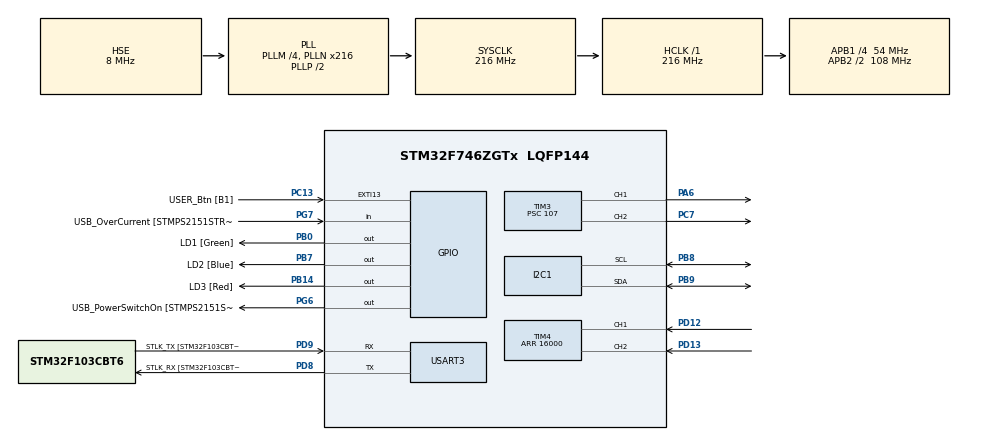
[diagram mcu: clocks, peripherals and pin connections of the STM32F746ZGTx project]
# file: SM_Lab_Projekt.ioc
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ARM.CMSIS.5.7.0.CMSISJjCORE=true
ARM.CMSIS.5.7.0.CMSISJjDSP=Library
I2C1.Timing=0x20404768
Mcu.Family=STM32F7
Mcu.Name=STM32F746ZGTx
Mcu.Package=LQFP144
NVIC.PriorityGroup=NVIC_PRIORITYGROUP_4
NVIC.TIM6_DAC_IRQn=true\:0\:0\:false\:false\:true\:true\:true
NVIC.TIM7_IRQn=true\:0\:0\:false\:false\:true\:true\:true
NVIC.USART3_IRQn=true\:0\:0\:false\:false\:true\:true\:true
PA1.GPIO_Label=RMII_REF_CLK [LAN8742A-CZ-TR_REFCLK0]
PA1.Signal=ETH_REF_CLK
PA10.GPIO_Label=USB_ID
PA10.Signal=USB_OTG_FS_ID
PA11.GPIO_Label=USB_DM
PA11.Signal=USB_OTG_FS_DM
PA12.GPIO_Label=USB_DP
PA12.Signal=USB_OTG_FS_DP
PA13.GPIO_Label=TMS
PA13.Mode=Serial_Wire
PA13.Signal=SYS_JTMS-SWDIO
PA14.GPIO_Label=TCK
PA14.Mode=Serial_Wire
PA14.Signal=SYS_JTCK-SWCLK
PA2.GPIO_Label=RMII_MDIO [LAN8742A-CZ-TR_MDIO]
PA2.Signal=ETH_MDIO
PA6.Signal=S_TIM3_CH1
PA7.GPIO_Label=RMII_CRS_DV [LAN8742A-CZ-TR_CRS_DV]
PA7.Signal=ETH_CRS_DV
PA8.GPIO_Label=USB_SOF [TP1]
PA8.Signal=USB_OTG_FS_SOF
PA9.GPIO_Label=USB_VBUS
PA9.Signal=USB_OTG_FS_VBUS
PB0.GPIO_Label=LD1 [Green]
PB0.Signal=GPIO_Output
PB13.GPIO_Label=RMII_TXD1 [LAN8742A-CZ-TR_TXD1]
PB13.Signal=ETH_TXD1
PB14.GPIO_Label=LD3 [Red]
PB14.Signal=GPIO_Output
PB3.GPIO_Label=SW0
PB3.Signal=SYS_JTDO-SWO
PB7.GPIO_Label=LD2 [Blue]
PB7.Signal=GPIO_Output
PB8.Mode=I2C
PB8.Signal=I2C1_SCL
PB9.Mode=I2C
PB9.Signal=I2C1_SDA
PC1.GPIO_Label=RMII_MDC [LAN8742A-CZ-TR_MDC]
PC1.Signal=ETH_MDC
PC13.GPIO_Label=USER_Btn [B1]
PC13.Signal=GPXTI13
PC14/OSC32_IN.Mode=LSE-External-Oscillator
PC14/OSC32_IN.Signal=RCC_OSC32_IN
PC15/OSC32_OUT.Mode=LSE-External-Oscillator
PC15/OSC32_OUT.Signal=RCC_OSC32_OUT
PC4.GPIO_Label=RMII_RXD0 [LAN8742A-CZ-TR_RXD0]
PC4.Signal=ETH_RXD0
PC5.GPIO_Label=RMII_RXD1 [LAN8742A-CZ-TR_RXD1]
PC5.Signal=ETH_RXD1
PC7.Signal=S_TIM3_CH2
PD12.Signal=S_TIM4_CH1
PD13.Signal=S_TIM4_CH2
PD8.GPIO_Label=STLK_RX [STM32F103CBT6_PA3]
PD8.Mode=Asynchronous
PD8.Signal=USART3_TX
PD9.GPIO_Label=STLK_TX [STM32F103CBT6_PA2]
PD9.Mode=Asynchronous
PD9.Signal=USART3_RX
PG11.GPIO_Label=RMII_TX_EN [LAN8742A-CZ-TR_TXEN]
PG11.Signal=ETH_TX_EN
PG13.GPIO_Label=RMII_TXD0 [LAN8742A-CZ-TR_TXD0]
PG13.Signal=ETH_TXD0
PG6.GPIO_Label=USB_PowerSwitchOn [STMPS2151STR_EN]
PG6.Signal=GPIO_Output
PG7.GPIO_Label=USB_OverCurrent [STMPS2151STR_FAULT]
PG7.Signal=GPIO_Input
PH0/OSC_IN.GPIO_Label=MCO [STM32F103CBT6_PA8]
PH0/OSC_IN.Mode=HSE-External-Clock-Source
PH0/OSC_IN.Signal=RCC_OSC_IN
PH1/OSC_OUT.Mode=HSE-External-Clock-Source
PH1/OSC_OUT.Signal=RCC_OSC_OUT
ProjectManager.HeapSize=0x200
ProjectManager.StackSize=0x400
ProjectManager.TargetToolchain=STM32CubeIDE
RCC.48MHZClocksFreq_Value=24000000
RCC.AHBFreq_Value=216000000
RCC.APB1CLKDivider=RCC_HCLK_DIV4
RCC.APB1Freq_Value=54000000
RCC.APB1TimFreq_Value=108000000
RCC.APB2CLKDivider=RCC_HCLK_DIV2
RCC.APB2Freq_Value=108000000
RCC.APB2TimFreq_Value=216000000
RCC.CortexFreq_Value=216000000
RCC.HCLKFreq_Value=216000000
RCC.HSE_VALUE=8000000
RCC.HSI_VALUE=16000000
RCC.PLLM=4
RCC.PLLMUL=RCC_PLL_MUL9
RCC.PLLN=216
RCC.PLLQ=3
RCC.PLLSourceVirtual=RCC_PLLSOURCE_HSE
RCC.PRESCALERUSB=RCC_USBCLKSOURCE_PLL_DIV1_5
RCC.SYSCLKFreq_VALUE=216000000
RCC.SYSCLKSource=RCC_SYSCLKSOURCE_PLLCLK
RCC.SYSCLKSourceVirtual=RCC_SYSCLKSOURCE_PLLCLK
RCC.USBFreq_Value=144000000
RCC.VCOOutputFreq_Value=432000000
SH.S_TIM3_CH1.0=TIM3_CH1,PWM Generation1 CH1
SH.S_TIM3_CH2.0=TIM3_CH2,PWM Generation2 CH2
SH.S_TIM4_CH1.0=TIM4_CH1,Encoder_Interface
SH.S_TIM4_CH2.0=TIM4_CH2,Encoder_Interface
TIM3.Channel-PWM\ Generation1\ CH1=TIM_CHANNEL_1
TIM3.Channel-PWM\ Generation2\ CH2=TIM_CHANNEL_2
TIM3.Period=999
TIM3.Prescaler=107
TIM4.Period=16000
TIM6.Period=999
TIM6.Prescaler=10799
TIM7.Period=9999
TIM7.Prescaler=10799
TIM7.TIM_MasterOutputTrigger=TIM_TRGO_UPDATE
USART3.Parity=PARITY_EVEN
USART3.VirtualMode-Asynchronous=VM_ASYNC
VP_ARM.CMSIS_VS_CMSISJjCORE_5.4.0_5.7.0.Mode=CMSISJjCORE
VP_ARM.CMSIS_VS_CMSISJjDSP_1.8.0_5.7.0.Mode=CMSISJjDSP
VP_TIM6_VS_ClockSourceINT.Mode=Enable_Timer
VP_TIM7_VS_ClockSourceINT.Mode=Enable_Timer
board=NUCLEO-F746ZG

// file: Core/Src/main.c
/* USER CODE BEGIN Header */
/**
  ******************************************************************************
  * @file           : main.c
  * @brief          : Main program body
  ******************************************************************************
  * @attention
  *
  * <h2><center>&copy; Copyright (c) 2021 STMicroelectronics.
  * All rights reserved.</center></h2>
  *
  * This software component is licensed by ST under BSD 3-Clause license,
  * the "License"; You may not use this file except in compliance with the
  * License. You may obtain a copy of the License at:
  *                        opensource.org/licenses/BSD-3-Clause
  *
  ******************************************************************************
  */
/* USER CODE END Header */
#include "main.h"

/* USER CODE BEGIN Includes */

#include "i2c.h"

#include "LCD_i2c_config.h"
#include "LCD_i2c.h"

#include "bh1750.h"
#include "bh1750_config.h"

#include "arm_math.h"
/* USER CODE END Includes */

/* USER CODE BEGIN PTD */

#define PID_TS         0.1        /* Sampling Time [s]*/
#define PID_KP1        0.15       /* Proporcional */
#define PID_KI1        0.35	      /* Integral */
#define PID_KD1        0.01       /* Derivative */

/* USER CODE END PTD */

/* USER CODE BEGIN PD */

/* USER CODE END Private defines */

/* USER CODE END PD */

/* USER CODE BEGIN PV */

I2C_HandleTypeDef hi2c1;

TIM_HandleTypeDef htim3;
TIM_HandleTypeDef htim4;
TIM_HandleTypeDef htim6;
TIM_HandleTypeDef htim7;

UART_HandleTypeDef huart3;

HAL_StatusTypeDef BH1750_Status = HAL_ERROR;
uint16_t lux;
uint16_t setValue;
uint8_t data[2];
uint8_t command;
int16_t PWM = 0;
int16_t uchyb = 0;
float PWM_raw = 0;

char send_line[26];
char send_line_usart[50];
char reciveLux[7];
_Bool LCD_update=0;

arm_pid_instance_f32 PID_regulator;

uint32_t sendTime=0;

/* USER CODE END PV */

void SystemClock_Config(void);
static void MX_GPIO_Init(void);
static void MX_USART3_UART_Init(void);
static void MX_I2C1_Init(void);
static void MX_TIM3_Init(void);
static void MX_TIM4_Init(void);
static void MX_TIM6_Init(void);
static void MX_TIM7_Init(void);

/* USER CODE BEGIN 0 */

void HAL_TIM_PeriodElapsedCallback(TIM_HandleTypeDef *htim)
{

	if (htim->Instance == TIM6)
	{
		HAL_GPIO_TogglePin(LD1_GPIO_Port, LD1_Pin);
		if(!LCD_update)
		{
			float luxTmp = BH1750_ReadLux(&hbh1750_1);
			lux = (uint16_t)luxTmp;
		}
		setValue = (uint16_t)__HAL_TIM_GET_COUNTER(&htim4)/4;
		uchyb = (int16_t)(setValue - lux);

		   // arm_pid_init_f32(&PID_regulator, 1 );

		PWM_raw = arm_pid_f32(&PID_regulator, uchyb);
		PWM=(uint16_t)(PWM_raw);
		if(PWM_raw>2000)
		{
			PWM=2000;
			//arm_pid_reset_f32(&PID_regulator);
			if(PID_regulator.state[2] > 2500 )
					PID_regulator.state[2] = 2500;
		}
		else if (PWM_raw<0)
		{
			//arm_pid_reset_f32(&PID_regulator);
			PWM=0;
			PID_regulator.state[2] = 0;
		}
		if(PWM<=1000)
		{
			__HAL_TIM_SET_COMPARE(&htim3, TIM_CHANNEL_1, PWM);
			__HAL_TIM_SET_COMPARE(&htim3, TIM_CHANNEL_2, 0);
		}
		else
		{
			__HAL_TIM_SET_COMPARE(&htim3, TIM_CHANNEL_1, 1000);
			__HAL_TIM_SET_COMPARE(&htim3, TIM_CHANNEL_2, (PWM-1000));
		}
	}

	if (htim->Instance == TIM7)
	{
		HAL_GPIO_TogglePin(LD2_GPIO_Port, LD2_Pin);
		LCD_update=1;
	}
}

void HAL_UART_RxCpltCallback(UART_HandleTypeDef *huart)
{
	HAL_GPIO_TogglePin(LD3_GPIO_Port, LD3_Pin);

	if(huart->Instance == USART3)
	{
		//char text[3];
		int16_t SetLux;
		//Przykładowa ramka: “PWM1234”
		//strncpy(text,&reciveLux,3);
		if(reciveLux[0]=='L' && reciveLux[1]=='U' && reciveLux[2]=='X')
		{
			SetLux = 1000*((int8_t)reciveLux[3]-'0')+100*((int8_t)reciveLux[4]-'0')+10*((int8_t)reciveLux[5]-'0')+1*((int8_t)reciveLux[6]-'0');
			if(SetLux>3999)SetLux=3999;
			else if(SetLux<0)SetLux=0;
			__HAL_TIM_SET_COUNTER(&htim4, SetLux*4);
		}
		HAL_UART_Receive_IT(&huart3,(uint8_t*)reciveLux,7);
	}

}

/* USER CODE END 0 */

int main(void)
{

  /* MCU Configuration--------------------------------------------------------*/

  /* Reset of all peripherals, Initializes the Flash interface and the Systick. */
  HAL_Init();

  /* Configure the system clock */
  SystemClock_Config();

  /* Initialize all configured peripherals */
  MX_GPIO_Init();
  MX_USART3_UART_Init();
  MX_I2C1_Init();
  MX_TIM3_Init();
  MX_TIM4_Init();
  MX_TIM6_Init();
  MX_TIM7_Init();
  /* USER CODE BEGIN 2 */
  HAL_TIM_Encoder_Start_IT(&htim4, TIM_CHANNEL_ALL);
  HAL_TIM_PWM_Start(&htim3, TIM_CHANNEL_1);
  HAL_TIM_PWM_Start(&htim3, TIM_CHANNEL_2);
  HAL_UART_Receive_IT(&huart3,(uint8_t*)reciveLux,7);

  BH1750_Init(&hbh1750_1);
  lcd_init(&hLCD_1);
  HAL_Delay(10);
  lcd_send_cmd(&hLCD_1,LCD_DISPLAY_ON_OFF_CONTROL | LCD_OPT_D);

  PID_regulator.Kp = PID_KP1;
  PID_regulator.Ki = PID_KI1 * PID_TS;
  PID_regulator.Kd = PID_KD1 / PID_TS;

  arm_pid_init_f32(&PID_regulator, 1 );

  HAL_TIM_Base_Start_IT(&htim6);
  HAL_TIM_Base_Start_IT(&htim7);

  uint8_t n = sprintf(send_line_usart, "Lp:; Lux:; Set:; PWM:; \n");
  HAL_UART_Transmit(&huart3,(uint8_t*)send_line_usart,n,100);

  /* USER CODE END 2 */

  /* Infinite loop */
  while (1)
  {
    /* USER CODE BEGIN 3 */
	  if(LCD_update)
	  {
		  sprintf(send_line, "Lux: %d ", (uint16_t)lux);
		  lcd_clear(&hLCD_1);
		  lcd_send_string (&hLCD_1,send_line,0,0);
		  HAL_Delay(2);
		  sprintf(send_line, "Set: %d ", (uint16_t)setValue);
		  lcd_send_string (&hLCD_1,send_line,1,0);
		  uint8_t n = sprintf(send_line_usart, "%d; %d; %d; %d; \n", sendTime, (uint16_t)lux, (uint16_t)  setValue, (uint16_t) PWM);
		  HAL_UART_Transmit(&huart3,(uint8_t*)send_line_usart,n,100);
		  sendTime++;
		  LCD_update=0;
	  }
	  HAL_Delay(1);
  }
  /* USER CODE END 3 */
}

void SystemClock_Config(void)
{
  RCC_OscInitTypeDef RCC_OscInitStruct = {0};
  RCC_ClkInitTypeDef RCC_ClkInitStruct = {0};
  RCC_PeriphCLKInitTypeDef PeriphClkInitStruct = {0};

  /** Configure LSE Drive Capability
  */
  HAL_PWR_EnableBkUpAccess();
  /** Configure the main internal regulator output voltage
  */
  __HAL_RCC_PWR_CLK_ENABLE();
  __HAL_PWR_VOLTAGESCALING_CONFIG(PWR_REGULATOR_VOLTAGE_SCALE1);
  /** Initializes the RCC Oscillators according to the specified parameters
  * in the RCC_OscInitTypeDef structure.
  */
  RCC_OscInitStruct.OscillatorType = RCC_OSCILLATORTYPE_HSE;
  RCC_OscInitStruct.HSEState = RCC_HSE_BYPASS;
  RCC_OscInitStruct.PLL.PLLState = RCC_PLL_ON;
  RCC_OscInitStruct.PLL.PLLSource = RCC_PLLSOURCE_HSE;
  RCC_OscInitStruct.PLL.PLLM = 4;
  RCC_OscInitStruct.PLL.PLLN = 216;
  RCC_OscInitStruct.PLL.PLLP = RCC_PLLP_DIV2;
  RCC_OscInitStruct.PLL.PLLQ = 3;
  if (HAL_RCC_OscConfig(&RCC_OscInitStruct) != HAL_OK)
  {
    Error_Handler();
  }
  /** Activate the Over-Drive mode
  */
  if (HAL_PWREx_EnableOverDrive() != HAL_OK)
  {
    Error_Handler();
  }
  /** Initializes the CPU, AHB and APB buses clocks
  */
  RCC_ClkInitStruct.ClockType = RCC_CLOCKTYPE_HCLK|RCC_CLOCKTYPE_SYSCLK
                              |RCC_CLOCKTYPE_PCLK1|RCC_CLOCKTYPE_PCLK2;
  RCC_ClkInitStruct.SYSCLKSource = RCC_SYSCLKSOURCE_PLLCLK;
  RCC_ClkInitStruct.AHBCLKDivider = RCC_SYSCLK_DIV1;
  RCC_ClkInitStruct.APB1CLKDivider = RCC_HCLK_DIV4;
  RCC_ClkInitStruct.APB2CLKDivider = RCC_HCLK_DIV2;

  if (HAL_RCC_ClockConfig(&RCC_ClkInitStruct, FLASH_LATENCY_7) != HAL_OK)
  {
    Error_Handler();
  }
  PeriphClkInitStruct.PeriphClockSelection = RCC_PERIPHCLK_USART3|RCC_PERIPHCLK_I2C1;
  PeriphClkInitStruct.Usart3ClockSelection = RCC_USART3CLKSOURCE_PCLK1;
  PeriphClkInitStruct.I2c1ClockSelection = RCC_I2C1CLKSOURCE_PCLK1;
  if (HAL_RCCEx_PeriphCLKConfig(&PeriphClkInitStruct) != HAL_OK)
  {
    Error_Handler();
  }
}

static void MX_I2C1_Init(void)
{

  hi2c1.Instance = I2C1;
  hi2c1.Init.Timing = 0x20404768;
  hi2c1.Init.OwnAddress1 = 0;
  hi2c1.Init.AddressingMode = I2C_ADDRESSINGMODE_7BIT;
  hi2c1.Init.DualAddressMode = I2C_DUALADDRESS_DISABLE;
  hi2c1.Init.OwnAddress2 = 0;
  hi2c1.Init.OwnAddress2Masks = I2C_OA2_NOMASK;
  hi2c1.Init.GeneralCallMode = I2C_GENERALCALL_DISABLE;
  hi2c1.Init.NoStretchMode = I2C_NOSTRETCH_DISABLE;
  if (HAL_I2C_Init(&hi2c1) != HAL_OK)
  {
    Error_Handler();
  }
  /** Configure Analogue filter
  */
  if (HAL_I2CEx_ConfigAnalogFilter(&hi2c1, I2C_ANALOGFILTER_ENABLE) != HAL_OK)
  {
    Error_Handler();
  }
  /** Configure Digital filter
  */
  if (HAL_I2CEx_ConfigDigitalFilter(&hi2c1, 0) != HAL_OK)
  {
    Error_Handler();
  }

}

static void MX_TIM3_Init(void)
{

  TIM_MasterConfigTypeDef sMasterConfig = {0};
  TIM_OC_InitTypeDef sConfigOC = {0};

  htim3.Instance = TIM3;
  htim3.Init.Prescaler = 107;
  htim3.Init.CounterMode = TIM_COUNTERMODE_UP;
  htim3.Init.Period = 999;
  htim3.Init.ClockDivision = TIM_CLOCKDIVISION_DIV1;
  htim3.Init.AutoReloadPreload = TIM_AUTORELOAD_PRELOAD_DISABLE;
  if (HAL_TIM_PWM_Init(&htim3) != HAL_OK)
  {
    Error_Handler();
  }
  sMasterConfig.MasterOutputTrigger = TIM_TRGO_RESET;
  sMasterConfig.MasterSlaveMode = TIM_MASTERSLAVEMODE_DISABLE;
  if (HAL_TIMEx_MasterConfigSynchronization(&htim3, &sMasterConfig) != HAL_OK)
  {
    Error_Handler();
  }
  sConfigOC.OCMode = TIM_OCMODE_PWM1;
  sConfigOC.Pulse = 0;
  sConfigOC.OCPolarity = TIM_OCPOLARITY_HIGH;
  sConfigOC.OCFastMode = TIM_OCFAST_DISABLE;
  if (HAL_TIM_PWM_ConfigChannel(&htim3, &sConfigOC, TIM_CHANNEL_1) != HAL_OK)
  {
    Error_Handler();
  }
  if (HAL_TIM_PWM_ConfigChannel(&htim3, &sConfigOC, TIM_CHANNEL_2) != HAL_OK)
  {
    Error_Handler();
  }
  HAL_TIM_MspPostInit(&htim3);

}

static void MX_TIM4_Init(void)
{

  TIM_Encoder_InitTypeDef sConfig = {0};
  TIM_MasterConfigTypeDef sMasterConfig = {0};

  htim4.Instance = TIM4;
  htim4.Init.Prescaler = 0;
  htim4.Init.CounterMode = TIM_COUNTERMODE_UP;
  htim4.Init.Period = 16000;
  htim4.Init.ClockDivision = TIM_CLOCKDIVISION_DIV1;
  htim4.Init.AutoReloadPreload = TIM_AUTORELOAD_PRELOAD_DISABLE;
  sConfig.EncoderMode = TIM_ENCODERMODE_TI1;
  sConfig.IC1Polarity = TIM_ICPOLARITY_RISING;
  sConfig.IC1Selection = TIM_ICSELECTION_DIRECTTI;
  sConfig.IC1Prescaler = TIM_ICPSC_DIV1;
  sConfig.IC1Filter = 0;
  sConfig.IC2Polarity = TIM_ICPOLARITY_RISING;
  sConfig.IC2Selection = TIM_ICSELECTION_DIRECTTI;
  sConfig.IC2Prescaler = TIM_ICPSC_DIV1;
  sConfig.IC2Filter = 0;
  if (HAL_TIM_Encoder_Init(&htim4, &sConfig) != HAL_OK)
  {
    Error_Handler();
  }
  sMasterConfig.MasterOutputTrigger = TIM_TRGO_RESET;
  sMasterConfig.MasterSlaveMode = TIM_MASTERSLAVEMODE_DISABLE;
  if (HAL_TIMEx_MasterConfigSynchronization(&htim4, &sMasterConfig) != HAL_OK)
  {
    Error_Handler();
  }

}

static void MX_TIM6_Init(void)
{

  TIM_MasterConfigTypeDef sMasterConfig = {0};

  htim6.Instance = TIM6;
  htim6.Init.Prescaler = 10799;
  htim6.Init.CounterMode = TIM_COUNTERMODE_UP;
  htim6.Init.Period = 999;
  htim6.Init.AutoReloadPreload = TIM_AUTORELOAD_PRELOAD_DISABLE;
  if (HAL_TIM_Base_Init(&htim6) != HAL_OK)
  {
    Error_Handler();
  }
  sMasterConfig.MasterOutputTrigger = TIM_TRGO_RESET;
  sMasterConfig.MasterSlaveMode = TIM_MASTERSLAVEMODE_DISABLE;
  if (HAL_TIMEx_MasterConfigSynchronization(&htim6, &sMasterConfig) != HAL_OK)
  {
    Error_Handler();
  }

}

static void MX_TIM7_Init(void)
{

  TIM_MasterConfigTypeDef sMasterConfig = {0};

  htim7.Instance = TIM7;
  htim7.Init.Prescaler = 10799;
  htim7.Init.CounterMode = TIM_COUNTERMODE_UP;
  htim7.Init.Period = 9999;
  htim7.Init.AutoReloadPreload = TIM_AUTORELOAD_PRELOAD_DISABLE;
  if (HAL_TIM_Base_Init(&htim7) != HAL_OK)
  {
    Error_Handler();
  }
  sMasterConfig.MasterOutputTrigger = TIM_TRGO_UPDATE;
  sMasterConfig.MasterSlaveMode = TIM_MASTERSLAVEMODE_DISABLE;
  if (HAL_TIMEx_MasterConfigSynchronization(&htim7, &sMasterConfig) != HAL_OK)
  {
    Error_Handler();
  }

}

static void MX_USART3_UART_Init(void)
{

  huart3.Instance = USART3;
  huart3.Init.BaudRate = 115200;
  huart3.Init.WordLength = UART_WORDLENGTH_8B;
  huart3.Init.StopBits = UART_STOPBITS_1;
  huart3.Init.Parity = UART_PARITY_EVEN;
  huart3.Init.Mode = UART_MODE_TX_RX;
  huart3.Init.HwFlowCtl = UART_HWCONTROL_NONE;
  huart3.Init.OverSampling = UART_OVERSAMPLING_16;
  huart3.Init.OneBitSampling = UART_ONE_BIT_SAMPLE_DISABLE;
  huart3.AdvancedInit.AdvFeatureInit = UART_ADVFEATURE_NO_INIT;
  if (HAL_UART_Init(&huart3) != HAL_OK)
  {
    Error_Handler();
  }

}

static void MX_GPIO_Init(void)
{
  GPIO_InitTypeDef GPIO_InitStruct = {0};

  /* GPIO Ports Clock Enable */
  __HAL_RCC_GPIOC_CLK_ENABLE();
  __HAL_RCC_GPIOH_CLK_ENABLE();
  __HAL_RCC_GPIOA_CLK_ENABLE();
  __HAL_RCC_GPIOB_CLK_ENABLE();
  __HAL_RCC_GPIOD_CLK_ENABLE();
  __HAL_RCC_GPIOG_CLK_ENABLE();

  /*Configure GPIO pin Output Level */
  HAL_GPIO_WritePin(GPIOB, LD1_Pin|LD3_Pin|LD2_Pin, GPIO_PIN_RESET);

  /*Configure GPIO pin Output Level */
  HAL_GPIO_WritePin(USB_PowerSwitchOn_GPIO_Port, USB_PowerSwitchOn_Pin, GPIO_PIN_RESET);

  /*Configure GPIO pin : USER_Btn_Pin */
  GPIO_InitStruct.Pin = USER_Btn_Pin;
  GPIO_InitStruct.Mode = GPIO_MODE_IT_RISING;
  GPIO_InitStruct.Pull = GPIO_NOPULL;
  HAL_GPIO_Init(USER_Btn_GPIO_Port, &GPIO_InitStruct);

  /*Configure GPIO pins : RMII_MDC_Pin RMII_RXD0_Pin RMII_RXD1_Pin */
  GPIO_InitStruct.Pin = RMII_MDC_Pin|RMII_RXD0_Pin|RMII_RXD1_Pin;
  GPIO_InitStruct.Mode = GPIO_MODE_AF_PP;
  GPIO_InitStruct.Pull = GPIO_NOPULL;
  GPIO_InitStruct.Speed = GPIO_SPEED_FREQ_VERY_HIGH;
  GPIO_InitStruct.Alternate = GPIO_AF11_ETH;
  HAL_GPIO_Init(GPIOC, &GPIO_InitStruct);

  /*Configure GPIO pins : RMII_REF_CLK_Pin RMII_MDIO_Pin RMII_CRS_DV_Pin */
  GPIO_InitStruct.Pin = RMII_REF_CLK_Pin|RMII_MDIO_Pin|RMII_CRS_DV_Pin;
  GPIO_InitStruct.Mode = GPIO_MODE_AF_PP;
  GPIO_InitStruct.Pull = GPIO_NOPULL;
  GPIO_InitStruct.Speed = GPIO_SPEED_FREQ_VERY_HIGH;
  GPIO_InitStruct.Alternate = GPIO_AF11_ETH;
  HAL_GPIO_Init(GPIOA, &GPIO_InitStruct);

  /*Configure GPIO pins : LD1_Pin LD3_Pin LD2_Pin */
  GPIO_InitStruct.Pin = LD1_Pin|LD3_Pin|LD2_Pin;
  GPIO_InitStruct.Mode = GPIO_MODE_OUTPUT_PP;
  GPIO_InitStruct.Pull = GPIO_NOPULL;
  GPIO_InitStruct.Speed = GPIO_SPEED_FREQ_LOW;
  HAL_GPIO_Init(GPIOB, &GPIO_InitStruct);

  /*Configure GPIO pin : RMII_TXD1_Pin */
  GPIO_InitStruct.Pin = RMII_TXD1_Pin;
  GPIO_InitStruct.Mode = GPIO_MODE_AF_PP;
  GPIO_InitStruct.Pull = GPIO_NOPULL;
  GPIO_InitStruct.Speed = GPIO_SPEED_FREQ_VERY_HIGH;
  GPIO_InitStruct.Alternate = GPIO_AF11_ETH;
  HAL_GPIO_Init(RMII_TXD1_GPIO_Port, &GPIO_InitStruct);

  /*Configure GPIO pin : USB_PowerSwitchOn_Pin */
  GPIO_InitStruct.Pin = USB_PowerSwitchOn_Pin;
  GPIO_InitStruct.Mode = GPIO_MODE_OUTPUT_PP;
  GPIO_InitStruct.Pull = GPIO_NOPULL;
  GPIO_InitStruct.Speed = GPIO_SPEED_FREQ_LOW;
  HAL_GPIO_Init(USB_PowerSwitchOn_GPIO_Port, &GPIO_InitStruct);

  /*Configure GPIO pin : USB_OverCurrent_Pin */
  GPIO_InitStruct.Pin = USB_OverCurrent_Pin;
  GPIO_InitStruct.Mode = GPIO_MODE_INPUT;
  GPIO_InitStruct.Pull = GPIO_NOPULL;
  HAL_GPIO_Init(USB_OverCurrent_GPIO_Port, &GPIO_InitStruct);

  /*Configure GPIO pins : USB_SOF_Pin USB_ID_Pin USB_DM_Pin USB_DP_Pin */
  GPIO_InitStruct.Pin = USB_SOF_Pin|USB_ID_Pin|USB_DM_Pin|USB_DP_Pin;
  GPIO_InitStruct.Mode = GPIO_MODE_AF_PP;
  GPIO_InitStruct.Pull = GPIO_NOPULL;
  GPIO_InitStruct.Speed = GPIO_SPEED_FREQ_VERY_HIGH;
  GPIO_InitStruct.Alternate = GPIO_AF10_OTG_FS;
  HAL_GPIO_Init(GPIOA, &GPIO_InitStruct);

  /*Configure GPIO pin : USB_VBUS_Pin */
  GPIO_InitStruct.Pin = USB_VBUS_Pin;
  GPIO_InitStruct.Mode = GPIO_MODE_INPUT;
  GPIO_InitStruct.Pull = GPIO_NOPULL;
  HAL_GPIO_Init(USB_VBUS_GPIO_Port, &GPIO_InitStruct);

  /*Configure GPIO pins : RMII_TX_EN_Pin RMII_TXD0_Pin */
  GPIO_InitStruct.Pin = RMII_TX_EN_Pin|RMII_TXD0_Pin;
  GPIO_InitStruct.Mode = GPIO_MODE_AF_PP;
  GPIO_InitStruct.Pull = GPIO_NOPULL;
  GPIO_InitStruct.Speed = GPIO_SPEED_FREQ_VERY_HIGH;
  GPIO_InitStruct.Alternate = GPIO_AF11_ETH;
  HAL_GPIO_Init(GPIOG, &GPIO_InitStruct);

}

void Error_Handler(void)
{
  __disable_irq();
  while (1)
  {
  }
}

/************************ (C) COPYRIGHT STMicroelectronics *****END OF FILE****/
